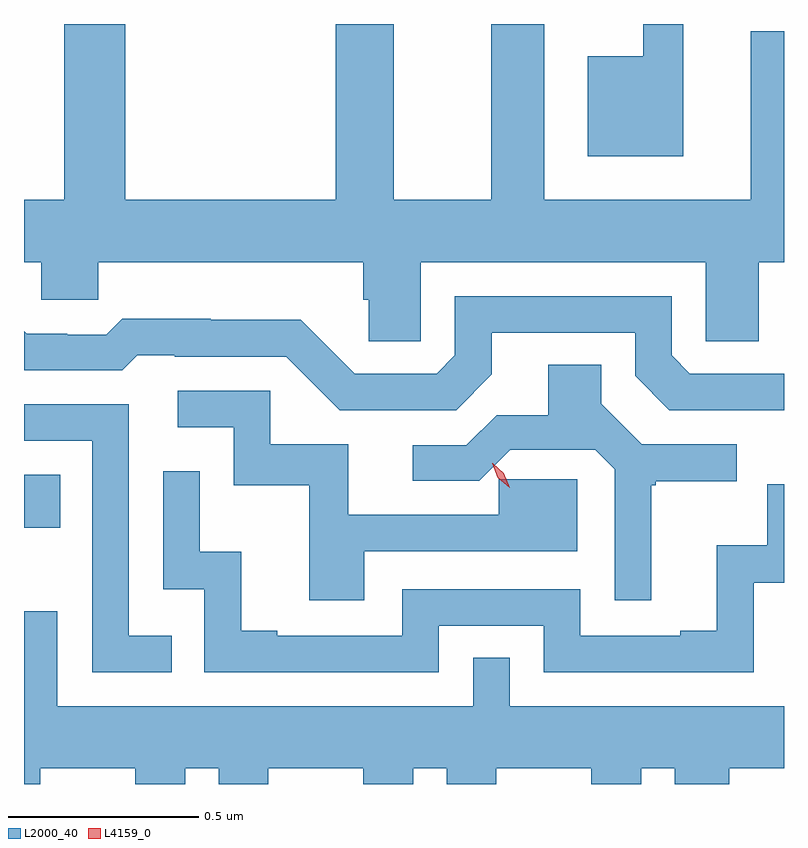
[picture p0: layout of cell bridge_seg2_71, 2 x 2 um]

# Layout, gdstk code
import gdstk
lib = gdstk.Library(unit=1e-6, precision=1e-09)
def R(c, l, rs):  # rectangles x0, y0, x1, y1
    for r in rs: c.add(gdstk.rectangle(r[:2], r[2:], *l))
def P(c, l, *ps):  # polygons
    for p in ps: c.add(gdstk.Polygon(p, *l))
L2000_40 = (2000, 40)
L4159_0 = (4159, 0)

bridge_seg2_71 = lib.new_cell('bridge_seg2_71')
R(bridge_seg2_71, L2000_40, [(1143.342,644.273,1143.437,644.413)])
P(bridge_seg2_71, L2000_40, [(1144.386,644.972),(1145.136,644.972),(1145.136,644.764),(1145.275,644.764),(1145.275,644.972),(1145.342,644.972),(1145.342,645.58),(1145.255,645.58),(1145.255,645.136),(1144.711,645.136),(1144.711,645.598),(1144.571,645.598),(1144.571,645.136),(1144.315,645.136),(1144.315,645.598),(1144.163,645.598),(1144.163,645.136),(1143.608,645.136),(1143.608,645.599),(1143.448,645.599),(1143.448,645.136),(1143.342,645.136),(1143.342,644.972),(1143.387,644.972),(1143.387,644.874),(1143.537,644.874),(1143.537,644.972),(1144.235,644.972),(1144.235,644.874),(1144.249,644.874),(1144.249,644.764),(1144.386,644.764)],
  [(1145.077,645.599),(1144.971,645.599),(1144.971,645.514),(1144.826,645.514),(1144.826,645.251),(1145.077,645.251)],
  [(1145.342,644.679),(1145.094,644.679),(1145.046,644.727),(1145.046,644.883),(1144.476,644.883),(1144.476,644.727),(1144.428,644.679),(1144.212,644.679),(1144.07,644.821),(1143.834,644.821),(1143.834,644.824),(1143.601,644.824),(1143.559,644.781),(1143.456,644.781),(1143.456,644.784),(1143.349,644.784),(1143.342,644.791),(1143.342,644.688),(1143.601,644.688),(1143.64,644.727),(1143.739,644.727),(1143.739,644.724),(1144.032,644.724),(1144.173,644.583),(1144.479,644.583),(1144.573,644.677),(1144.573,644.787),(1144.95,644.787),(1144.95,644.673),(1145.04,644.583),(1145.256,644.583),(1145.256,644.582),(1145.342,644.582)],
  [(1144.993,644.385),(1145.005,644.385),(1145.005,644.396),(1145.218,644.396),(1145.218,644.493),(1144.968,644.493),(1144.861,644.6),(1144.861,644.702),(1144.721,644.702),(1144.721,644.57),(1144.586,644.57),(1144.506,644.49),(1144.365,644.49),(1144.365,644.397),(1144.54,644.397),(1144.622,644.479),(1144.737,644.479),(1144.737,644.478),(1144.845,644.478),(1144.896,644.427),(1144.896,644.082),(1144.993,644.082)],
  [(1144.237,644.211),(1144.798,644.211),(1144.798,644.401),(1144.591,644.401),(1144.591,644.307),(1144.195,644.307),(1144.195,644.493),(1143.99,644.493),(1143.99,644.634),(1143.747,644.634),(1143.747,644.538),(1143.894,644.538),(1143.894,644.385),(1144.093,644.385),(1144.093,644.082),(1144.237,644.082)],
  [(1143.731,643.989),(1143.618,643.989),(1143.618,644.598),(1143.342,644.598),(1143.342,644.502),(1143.522,644.502),(1143.522,643.893),(1143.731,643.893)],
  [(1144.434,644.016),(1144.71,644.016),(1144.71,643.893),(1145.262,643.893),(1145.262,644.129),(1145.342,644.129),(1145.342,644.388),(1145.298,644.388),(1145.298,644.227),(1145.165,644.227),(1145.165,644.002),(1145.069,644.002),(1145.069,643.989),(1144.806,643.989),(1144.806,644.112),(1144.338,644.112),(1144.338,643.989),(1144.009,643.989),(1144.009,644.002),(1143.914,644.002),(1143.914,644.21),(1143.804,644.21),(1143.804,644.422),(1143.708,644.422),(1143.708,644.112),(1143.816,644.112),(1143.816,643.893),(1144.434,643.893)],
  [(1143.385,643.64),(1143.635,643.64),(1143.635,643.599),(1143.766,643.599),(1143.766,643.64),(1143.854,643.64),(1143.854,643.599),(1143.985,643.599),(1143.985,643.64),(1144.235,643.64),(1144.235,643.599),(1144.366,643.599),(1144.366,643.64),(1144.454,643.64),(1144.454,643.599),(1144.585,643.599),(1144.585,643.64),(1144.835,643.64),(1144.835,643.599),(1144.966,643.599),(1144.966,643.64),(1145.054,643.64),(1145.054,643.599),(1145.198,643.599),(1145.198,643.64),(1145.342,643.64),(1145.342,643.804),(1144.62,643.804),(1144.62,643.931),(1144.524,643.931),(1144.524,643.804),(1143.429,643.804),(1143.429,644.053),(1143.342,644.053),(1143.342,643.599),(1143.385,643.599)])
P(bridge_seg2_71, L4159_0, [(1144.62,644.379),(1144.589,644.405),(1144.574,644.443),(1144.574,644.443),(1144.575,644.443),(1144.605,644.417),(1144.62,644.379),(1144.62,644.379)])

lib.write_gds('bridge_seg2_71.gds')
